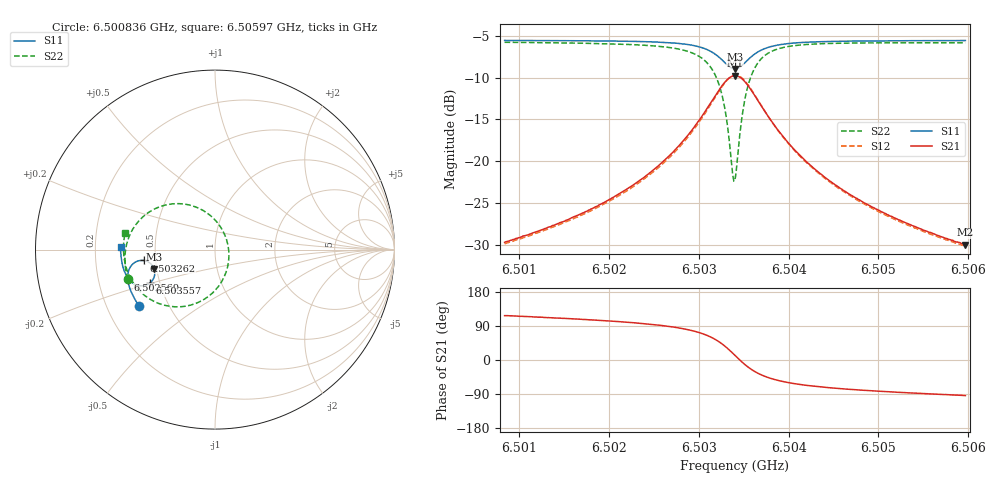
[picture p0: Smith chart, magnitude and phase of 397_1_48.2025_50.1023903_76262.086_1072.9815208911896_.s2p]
#  HZ  S  RI  R  50.00
! Rohde & Schwarz Vector Network Analyzer
! Rohde-Schwarz,ZNB20-2Port,1311601062101988,3.16
! Created: UTC 3/20/2024, 11:53:51 AM
! freq[Hz]  re:S11  im:S11  re:S21  im:S21  re:S12  im:S12  re:S22  im:S22
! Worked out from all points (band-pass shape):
!   401 points, 6.500836 GHz to 6.50597 GHz, reference 50 ohm
!   highest |S21| = -9.78 dB at 6.503403 GHz (marker M1); lowest = -30.0 dB at 6.50597 GHz (marker M2)
!   |S21| within 3 dB of the highest: 6.503147 GHz to 6.50366 GHz (513.2 kHz wide, 0.00789 % of centre)
!   lowest |S11| = -9.0 dB at 6.503403 GHz (marker M3), VSWR 2.10, Z = 24.2 - j6.05 ohm
!   |S11| at or under -10 dB: nowhere
!   |S22| runs from -22.4 to -5.8 dB; largest |S21 - S12| = 0.011
!   S11 on the Smith chart (normalised r, x): 6.500836 GHz: 0.34, -0.30; 6.502569 GHz: 0.33, -0.15; 6.503262 GHz: 0.43, -0.06; 6.503557 GHz: 0.44, -0.20; 6.50597 GHz: 0.31, +0.01
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6.5008356e9  -0.4209 -0.3163  -0.0149 0.0292  -0.0133 0.0294  -0.4862 -0.1649
6.5016957e9  -0.4587 -0.2537  -0.0146 0.0466  -0.0122 0.0462  -0.5014 -0.0752
6.5021707e9  -0.4759 -0.2122  -0.0117 0.0658  -0.00884 0.0647  -0.4995 -0.00924
6.5025558e9  -0.4854 -0.1704  -0.0031 0.0946  0.000339 0.0923  -0.4812 0.0657
6.5025686e9  -0.4855 -0.1688  -0.00261 0.096  0.00105 0.0937  -0.48 0.0688
6.5028126e9  -0.485 -0.1338  0.0155 0.129  0.0193 0.1252  -0.4419 0.1381
6.5029923e9  -0.4737 -0.1004  0.0499 0.165  0.0531 0.1595  -0.3744 0.2042
6.5031592e9  -0.4393 -0.0673  0.1268 0.1983  0.1279 0.1919  -0.2332 0.2551
6.5032618e9  -0.397 -0.0604  0.2114 0.1899  0.2115 0.1847  -0.086 0.2284
6.5033132e9  -0.3715 -0.0688  0.2593 0.1623  0.2601 0.1577  -0.00625 0.1718
6.5033774e9  -0.3451 -0.0948  0.307 0.0996  0.3094 0.0949  0.0656 0.0514
6.5034031e9  -0.3387 -0.1091  0.3173 0.0679  0.3202 0.0623  0.0769 -0.00769
6.5034287e9  -0.3356 -0.1246  0.321 0.0347  0.3244 0.0279  0.0754 -0.0683
6.5034929e9  -0.3425 -0.1612  0.3036 -0.0424  0.3058 -0.052  0.0215 -0.202
6.5035571e9  -0.3632 -0.187  0.2617 -0.096  0.2606 -0.107  -0.0734 -0.2842
6.5036598e9  -0.4024 -0.2022  0.188 -0.1323  0.1829 -0.1415  -0.2212 -0.3188
6.5038267e9  -0.448 -0.1924  0.1074 -0.1297  0.1005 -0.1346  -0.3667 -0.2733
6.5040064e9  -0.4753 -0.1712  0.0633 -0.1101  0.0573 -0.1122  -0.4381 -0.2093
6.5042631e9  -0.496 -0.1412  0.0337 -0.0862  0.029 -0.0867  -0.4812 -0.1378
6.5046354e9  -0.5113 -0.1027  0.0152 -0.0641  0.012 -0.0637  -0.5032 -0.0656
6.5051232e9  -0.5209 -0.0579  0.00499 -0.047  0.00283 -0.0464  -0.5098 0.00229
6.5059705e9  -0.5258 0.0135  -0.00217 -0.0316  -0.00338 -0.0309  -0.5017 0.0907
